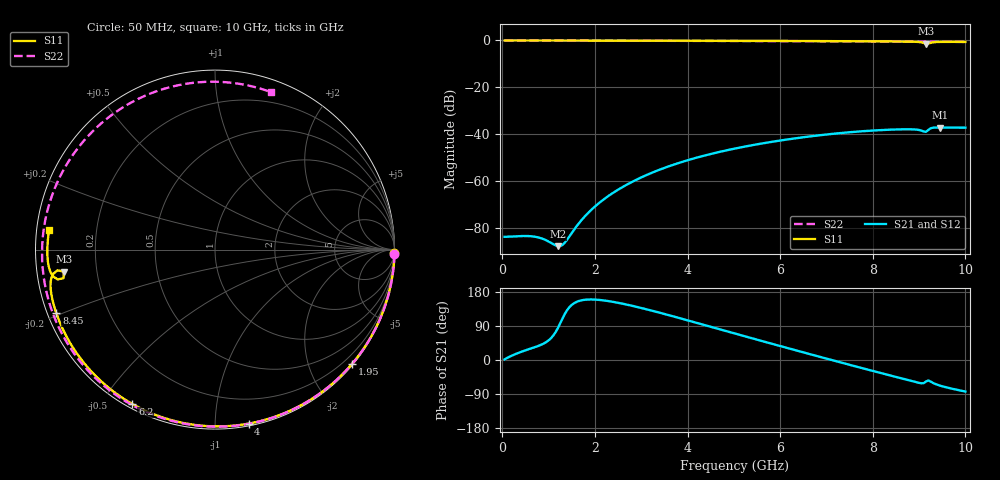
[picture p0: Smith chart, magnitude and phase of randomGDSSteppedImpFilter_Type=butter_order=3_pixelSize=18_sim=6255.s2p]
! freq	dB(S11)	phase(S11)	dB(S12)	phase(S12)
!  dB(S21)	phase(S21)	dB(S22)	phase(S22)
!S-par simulation data
#  GHz  S  DB  R 50
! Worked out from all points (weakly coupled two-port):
!   200 points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, 50 MHz to 10 GHz, reference 50 ohm
!   highest |S21| = -37.03 dB at 9.45 GHz (marker M1); lowest = -87.5 dB at 1.2 GHz (marker M2)
!   lowest |S11| = -1.4 dB at 9.15 GHz (marker M3), VSWR 12.47, Z = 4.03 - j3.61 ohm
!   |S11| at or under -10 dB: nowhere
!   |S22| runs from -0.6 to 0.0 dB; largest |S21 - S12| = 0
!   S11 on the Smith chart (normalised r, x): 50 MHz: open; 1.95 GHz: 0.03, -2.76; 4 GHz: 0.02, -1.21; 6.2 GHz: 0.02, -0.60; 8.45 GHz: 0.03, -0.19; 10 GHz: 0.04, +0.06
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0.05  -0.00 -1.0  -83.55 1.6  -83.55 1.6  -0.00 -1.5
0.6  -0.01 -12.5  -83.27 29.6  -83.27 29.6  -0.01 -18.1
1.2  -0.03 -24.8  -87.52 84.2  -87.52 84.2  -0.04 -35.8
1.55  -0.04 -31.8  -80.50 149.8  -80.50 149.8  -0.06 -46.0
1.75  -0.05 -35.9  -75.53 158.4  -75.53 158.4  -0.07 -51.7
1.95  -0.05 -39.8  -71.53 159.7  -71.53 159.7  -0.07 -57.4
2.25  -0.06 -45.8  -66.75 156.2  -66.75 156.2  -0.08 -65.8
2.6  -0.07 -52.6  -62.33 148.5  -62.33 148.5  -0.09 -75.4
3.4  -0.09 -67.9  -54.96 124.8  -54.96 124.8  -0.13 -96.8
4  -0.11 -79.1  -50.97 104.7  -50.97 104.7  -0.15 -112.4
5.05  -0.15 -98.0  -45.88 68.9  -45.88 68.9  -0.21 -139.0
5.65  -0.18 -108.6  -43.68 48.6  -43.68 48.6  -0.25 -154.3
6.2  -0.22 -118.2  -41.99 30.1  -41.99 30.1  -0.29 -168.5
6.7  -0.25 -126.8  -40.69 13.5  -40.69 13.5  -0.33 178.1
7.55  -0.32 -141.7  -38.97 -14.4  -38.97 -14.4  -0.41 154.1
8.35  -0.41 -156.2  -37.97 -39.9  -37.97 -39.9  -0.48 129.4
8.45  -0.42 -158.1  -37.90 -43.1  -37.90 -43.1  -0.49 126.1
8.95  -0.59 -168.7  -37.95 -58.9  -37.95 -58.9  -0.54 109.2
9.15  -1.40 -171.7  -38.88 -56.8  -38.88 -56.8  -0.55 102.2
9.25  -0.99 -169.3  -37.36 -56.9  -37.36 -56.9  -0.56 98.6
9.45  -0.61 -174.5  -37.03 -67.5  -37.03 -67.5  -0.58 91.3
10  -0.62 173.3  -37.11 -83.3  -37.11 -83.3  -0.62 70.5
